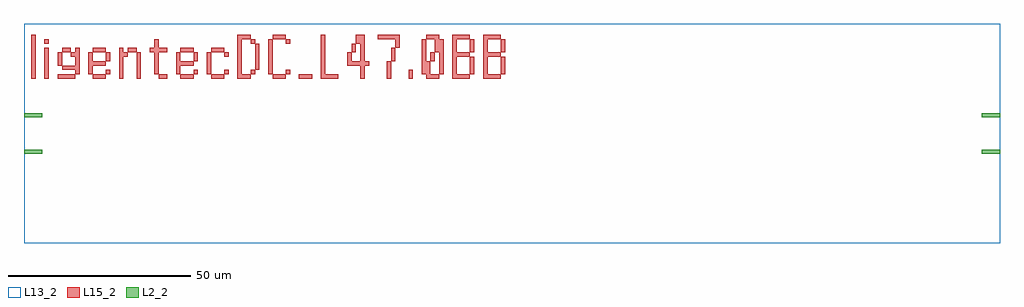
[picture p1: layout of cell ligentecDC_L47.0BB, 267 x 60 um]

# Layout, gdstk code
import gdstk
lib = gdstk.Library(unit=1e-6, precision=1e-09)
def R(c, l, rs):  # rectangles x0, y0, x1, y1
    for r in rs: c.add(gdstk.rectangle(r[:2], r[2:], *l))
def A(c, l, x, y, w, h, nx, ny, dx, dy):  # array of equal rectangles
    R(c, l, [(x+i*dx, y+j*dy, x+i*dx+w, y+j*dy+h) for i in range(nx) for j in range(ny)])
L2_2 = (2, 2)
L13_2 = (13, 2)
L15_2 = (15, 2)

ligentecdc_l47_0bb = lib.new_cell('ligentecDC_L47.0BB')
R(ligentecdc_l47_0bb, L2_2, [(-5,-0.5,0,0.5), (257,-0.5,262,0.5), (-5,9.5,0,10.5), (257,9.5,262,10.5)])
R(ligentecdc_l47_0bb, L13_2, [(-5,-25,262,35)])
A(ligentecdc_l47_0bb, L15_2, 13.8, 20, 3.6, 1.2, 1, 3, 0, 3.6)
A(ligentecdc_l47_0bb, L15_2, 37.8, 20, 3.6, 1.2, 1, 3, 0, 3.6)
A(ligentecdc_l47_0bb, L15_2, 63, 20, 3.6, 1.2, 3, 1, 7.2, 0)
R(ligentecdc_l47_0bb, L15_2, [(-3,20,-1.8,32), (0.6,20,1.8,28.4), (4.2,20,9,21.2), (21,20,22.2,28.4), (25.8,20,27,27.2), (31.8,20,34.2,21.2), (46.2,20,49.8,21.2), (53.4,20,54.6,32), (54.6,20,57,21.2), (76.2,20,77.4,32), (87,20,88.2,32), (94.2,20,95.4,24.8), (100.2,20,101.4,22.4), (105,20,106.2,24.8), (106.2,20,108.6,21.2), (112.2,20,113.4,32), (113.4,20,117,21.2), (120.6,20,121.8,32), (121.8,20,125.4,21.2), (9,21.2,10.2,28.4), (12.6,21.2,13.8,27.2), (17.4,21.2,18.6,22.4), (30.6,21.2,31.8,30.8), (36.6,21.2,37.8,27.2), (41.4,21.2,42.6,22.4), (45,21.2,46.2,27.2), (49.8,21.2,51,22.4), (57,21.2,58.2,22.4), (61.8,21.2,63,30.8), (66.6,21.2,67.8,22.4), (103.8,21.2,105,30.8), (108.6,21.2,109.8,30.8), (117,21.2,118.2,26), (125.4,21.2,126.6,26), (5.4,22.4,9,23.6), (58.2,22.4,59.4,29.6), (4.2,23.6,5.4,27.2), (83.4,23.6,84.6,27.2), (84.6,23.6,87,24.8), (88.2,23.6,89.4,24.8), (17.4,24.8,18.6,27.2), (41.4,24.8,42.6,27.2), (95.4,24.8,96.6,28.4), (106.2,24.8,107.4,27.2), (7.8,26,9,27.2), (22.2,26,23.4,27.2), (49.8,26,51,27.2), (113.4,26,117,27.2), (121.8,26,125.4,27.2), (5.4,27.2,7.8,28.4), (23.4,27.2,25.8,28.4), (29.4,27.2,30.6,28.4), (31.8,27.2,34.2,28.4), (46.2,27.2,49.8,28.4), (84.6,27.2,85.8,29.6), (107.4,27.2,108.6,32), (117,27.2,118.2,30.8), (125.4,27.2,126.6,30.8), (96.6,28.4,97.8,32), (0.6,29.6,1.8,30.8), (57,29.6,58.2,30.8), (66.6,29.6,67.8,30.8), (85.8,29.6,87,32), (54.6,30.8,57,32), (63,30.8,66.6,32), (91.8,30.8,96.6,32), (105,30.8,107.4,32), (113.4,30.8,117,32), (121.8,30.8,125.4,32)])

lib.write_gds('ligentecDC_L47.0BB.gds')
